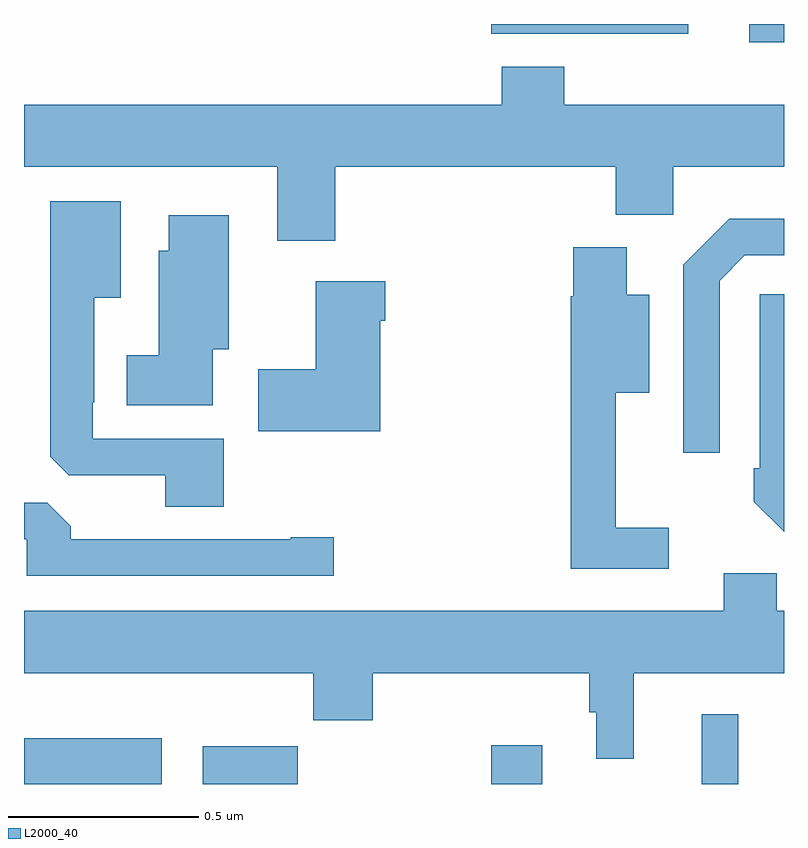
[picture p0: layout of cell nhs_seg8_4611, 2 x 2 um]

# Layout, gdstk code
import gdstk
lib = gdstk.Library(unit=1e-6, precision=1e-09)
def R(c, l, rs):  # rectangles x0, y0, x1, y1
    for r in rs: c.add(gdstk.rectangle(r[:2], r[2:], *l))
def P(c, l, *ps):  # polygons
    for p in ps: c.add(gdstk.Polygon(p, *l))
L2000_40 = (2000, 40)

nhs_seg8_4611 = lib.new_cell('nhs_seg8_4611')
R(nhs_seg8_4611, L2000_40, [(173,1090.9,173.362,1091.02), (173.471,1090.9,173.72,1090.999), (174.23,1090.9,174.364,1091.002), (174.783,1090.9,174.88,1091.083), (174.908,1092.852,175,1092.9), (174.23,1092.875,174.748,1092.9)])
P(nhs_seg8_4611, L2000_40, [(173.819,1092.524),(174.557,1092.524),(174.557,1092.398),(174.708,1092.398),(174.708,1092.524),(175,1092.524),(175,1092.688),(174.422,1092.688),(174.422,1092.787),(174.257,1092.787),(174.257,1092.688),(173,1092.688),(173,1092.524),(173.666,1092.524),(173.666,1092.33),(173.819,1092.33)],
  [(173.525,1091.808),(173.181,1091.808),(173.181,1091.905),(173.185,1091.905),(173.185,1092.179),(173.254,1092.179),(173.254,1092.433),(173.069,1092.433),(173.069,1091.761),(173.118,1091.712),(173.372,1091.712),(173.372,1091.629),(173.525,1091.629)],
  [(173.497,1092.044),(173.539,1092.044),(173.539,1092.397),(173.381,1092.397),(173.381,1092.303),(173.354,1092.303),(173.354,1092.028),(173.27,1092.028),(173.27,1091.897),(173.497,1091.897)],
  [(174.831,1092.225),(174.897,1092.291),(175,1092.291),(175,1092.388),(174.856,1092.388),(174.735,1092.267),(174.735,1091.772),(174.831,1091.772)],
  [(174.697,1091.575),(174.557,1091.575),(174.557,1091.93),(174.646,1091.93),(174.646,1092.187),(174.586,1092.187),(174.586,1092.313),(174.446,1092.313),(174.446,1092.183),(174.439,1092.183),(174.439,1091.466),(174.697,1091.466)],
  [(173.938,1092.119),(173.951,1092.119),(173.951,1092.223),(173.768,1092.223),(173.768,1091.991),(173.616,1091.991),(173.616,1091.828),(173.938,1091.828)],
  [(175,1092.189),(174.936,1092.189),(174.936,1091.731),(174.921,1091.731),(174.921,1091.643),(175,1091.564)],
  [(173.815,1091.549),(173.702,1091.549),(173.702,1091.544),(173.123,1091.544),(173.123,1091.578),(173.061,1091.64),(173,1091.64),(173,1091.544),(173.007,1091.544),(173.007,1091.448),(173.815,1091.448)],
  [(174.605,1091.192),(175,1091.192),(175,1091.356),(174.981,1091.356),(174.981,1091.454),(174.842,1091.454),(174.842,1091.356),(173,1091.356),(173,1091.192),(173.761,1091.192),(173.761,1091.068),(173.918,1091.068),(173.918,1091.192),(174.487,1091.192),(174.487,1091.089),(174.506,1091.089),(174.506,1090.967),(174.605,1090.967)])

lib.write_gds('nhs_seg8_4611.gds')
